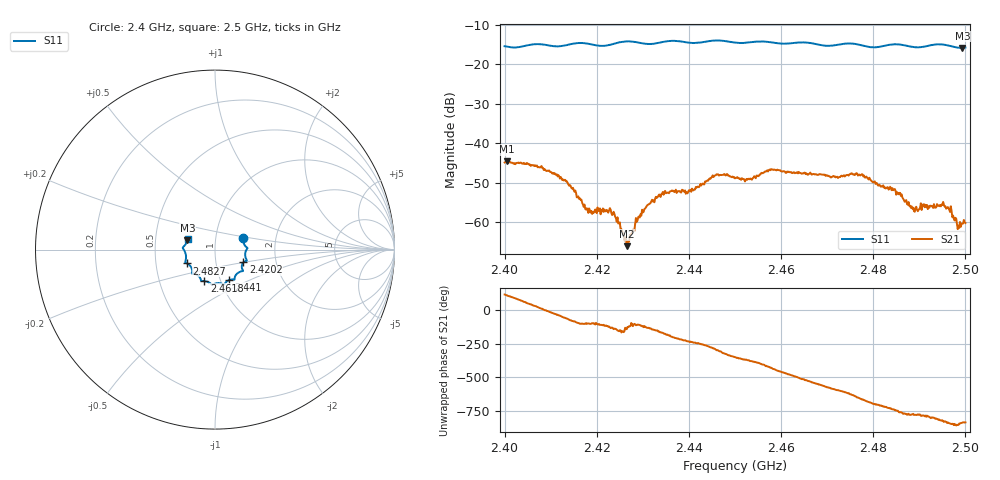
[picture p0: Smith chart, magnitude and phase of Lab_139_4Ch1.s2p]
# Hz S RI R 50
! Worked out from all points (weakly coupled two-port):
!   601 points, 2.4 GHz to 2.5 GHz, reference 50 ohm
!   highest |S21| = -44.56 dB at 2.4005 GHz (marker M1); lowest = -66.0 dB at 2.4265 GHz (marker M2)
!   lowest |S11| = -15.8 dB at 2.4993 GHz (marker M3), VSWR 1.39, Z = 36.5 + j3.83 ohm
!   |S11| at or under -10 dB: start of sweep to end of sweep
!   S12 and S22 are empty: the file has one direction only
!   S11 on the Smith chart (normalised r, x): 2.4 GHz: 1.36, +0.18; 2.4202 GHz: 1.36, -0.20; 2.441 GHz: 1.10, -0.39; 2.4618 GHz: 0.84, -0.30; 2.4827 GHz: 0.72, -0.11; 2.5 GHz: 0.73, +0.09
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2.4e9  0.1584 0.0629  -0.00272 0.00505  0 0  0 0
2.4005e9  0.158 0.0576  -0.00228 0.00546  0 0  0 0
2.411333e9  0.1686 -0.0202  0.00337 -0.00225  0 0  0 0
2.416667e9  0.1771 -0.061  -0.000343 -0.00191  0 0  0 0
2.420167e9  0.1585 -0.0711  -0.000347 -0.00151  0 0  0 0
2.423333e9  0.15 -0.1004  -0.000771 -0.000971  0 0  0 0
2.4265e9  0.1565 -0.1186  -0.000385 -0.000319  0 0  0 0
2.429e9  0.1456 -0.1213  -0.000348 -0.00112  0 0  0 0
2.433333e9  0.1113 -0.1509  -0.00196 -0.000816  0 0  0 0
2.441e9  0.0787 -0.1695  -0.00126 0.00222  0 0  0 0
2.445667e9  0.0505 -0.1948  0.00124 0.00372  0 0  0 0
2.45e9  0.0284 -0.1874  0.00355 0.000683  0 0  0 0
2.461833e9  -0.0592 -0.1753  -0.00213 -0.00376  0 0  0 0
2.466667e9  -0.0788 -0.1683  -0.00403 -0.000156  0 0  0 0
2.4775e9  -0.1269 -0.12  0.00232 0.00333  0 0  0 0
2.482667e9  -0.1559 -0.0772  0.00269 -3.25e-05  0 0  0 0
2.483333e9  -0.1603 -0.0752  0.00257 -0.000431  0 0  0 0
2.4885e9  -0.1614 -0.0434  0.000808 -0.00125  0 0  0 0
2.495167e9  -0.1784 0.0133  -0.000512 -0.00174  0 0  0 0
2.498667e9  -0.1572 0.042  -0.000485 -0.000699  0 0  0 0
2.499333e9  -0.154 0.0511  -0.000468 -0.000843  0 0  0 0
2.5e9  -0.1524 0.0607  -0.000438 -0.000878  0 0  0 0
